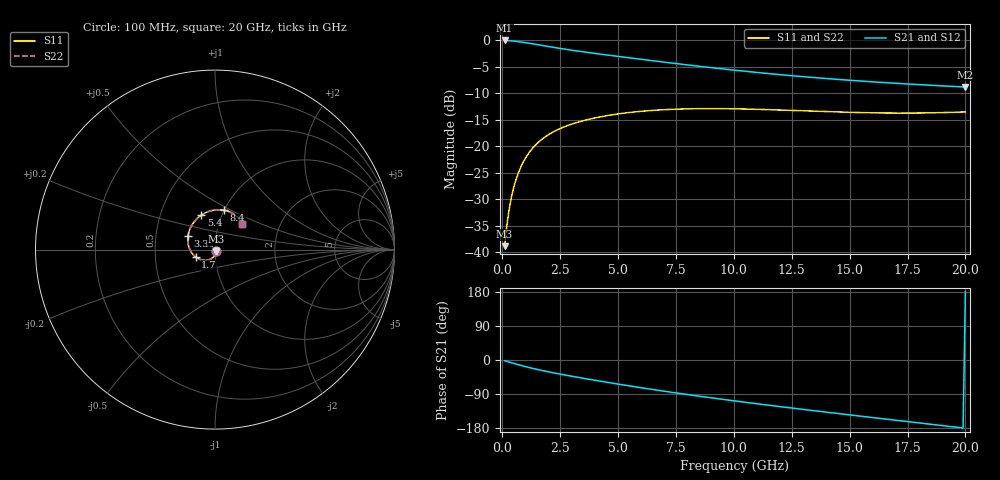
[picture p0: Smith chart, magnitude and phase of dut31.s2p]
! Touchstone file exported from HFSS 2023.1.0
!  File:  D:/Users/fzz/RDL_TSV/temp_RDL_TSV_31_1778744076.aedt
!  Generated:  3:43:54 %x4E0B%x5348  5%x6708 14, 2026
!  Design:  RDL_TSV
!  Project:  temp_RDL_TSV_31_1778744076
!  Setup:  Setup1
!  Solution:  Sweep
! Variables:
!  dtsv = 15.23um
!  hbump = 3um
!  htsv = 90.77um
!  ldown = 461um
!  lrdl = 207.35um
!  p = 40
!  p1 = 49.43um
!  rhole = 10um
!  subl = 2212.4um
!  t = 450um
!  tdown = 4.91um
!  trdl = 4.35um
!  viad = 10um
!  wdown = 19.59um
!  wrdl = 28.77um
!  xbump = 18um
# GHz S MA R 50.000000
! Terminal data exported
! Port[1] = TM1_1_T1
! Port[2] = TM1_4_T1
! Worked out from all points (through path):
!   200 points, 100 MHz to 20 GHz, reference 50 ohm
!   highest |S21| = -0.08 dB at 100 MHz (marker M1); lowest = -8.9 dB at 20 GHz (marker M2)
!   group delay of S21, straight-line fit = 23.4 ps
!   lowest |S11| = -38.9 dB at 100 MHz (marker M3), VSWR 1.02, Z = 50.8 - j0.852 ohm
!   |S11| at or under -10 dB: start of sweep to end of sweep
!   |S22| runs from -38.9 to -12.9 dB; largest |S21 - S12| = 1.2e-14
!   S11 on the Smith chart (normalised r, x): 100 MHz: 1.02, -0.02; 1.7 GHz: 0.80, -0.07; 3.3 GHz: 0.73, +0.12; 5.4 GHz: 0.80, +0.32; 8.4 GHz: 1.00, +0.46; 20 GHz: 1.29, +0.39
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0.1  0.01137 -47.5  0.991 -1.9  0.991 -1.9  0.01137 -47.5
! Gamma 0 0 0 0
! Port Impedance 50 0 50 0
0.2  0.01807 -70.5  0.9889 -3.7  0.9889 -3.7  0.01807 -70.5
0.3  0.02567 -83.6  0.9857 -5.6  0.9857 -5.6  0.02567 -83.6
0.4  0.03347 -93.0  0.9818 -7.4  0.9818 -7.4  0.03347 -93.0
0.5  0.04122 -100.7  0.9772 -9.1  0.9772 -9.1  0.04122 -100.7
0.6  0.04881 -107.3  0.9718 -10.9  0.9718 -10.9  0.04881 -107.4
0.8  0.06334 -119.0  0.9594 -14.2  0.9594 -14.2  0.06335 -119.0
1.1  0.08315 -134.1  0.9375 -19.0  0.9375 -19.0  0.08316 -134.1
1.4  0.1004 -147.3  0.9139 -23.4  0.9139 -23.4  0.1005 -147.3
1.7  0.1154 -159.2  0.8902 -27.5  0.8902 -27.5  0.1154 -159.2
2.4  0.1431 177.0  0.8393 -36.1  0.8393 -36.1  0.1432 177.0
3.3  0.1689 152.5  0.7845 -46.1  0.7845 -46.1  0.169 152.5
3.5  0.1736 147.8  0.7736 -48.3  0.7736 -48.3  0.1737 147.7
4.4  0.1916 129.0  0.7284 -57.6  0.7284 -57.6  0.1917 129.0
5.4  0.2063 111.9  0.6832 -67.5  0.6832 -67.5  0.2065 111.9
6.8  0.2192 93.0  0.626 -80.6  0.626 -80.6  0.2194 93.0
8.4  0.2252 76.7  0.5689 -94.6  0.5689 -94.6  0.2254 76.7
10.1  0.2245 64.0  0.5177 -108.5  0.5177 -108.5  0.2247 64.0
11.7  0.2199 55.6  0.4781 -120.8  0.4781 -120.8  0.2201 55.6
13.4  0.2135 49.5  0.4438 -133.4  0.4438 -133.4  0.2138 49.5
16.7  0.2049 44.3  0.3945 -156.9  0.3945 -156.9  0.2051 44.3
20  0.2101 43.5  0.3604 179.9  0.3604 179.9  0.2103 43.5
